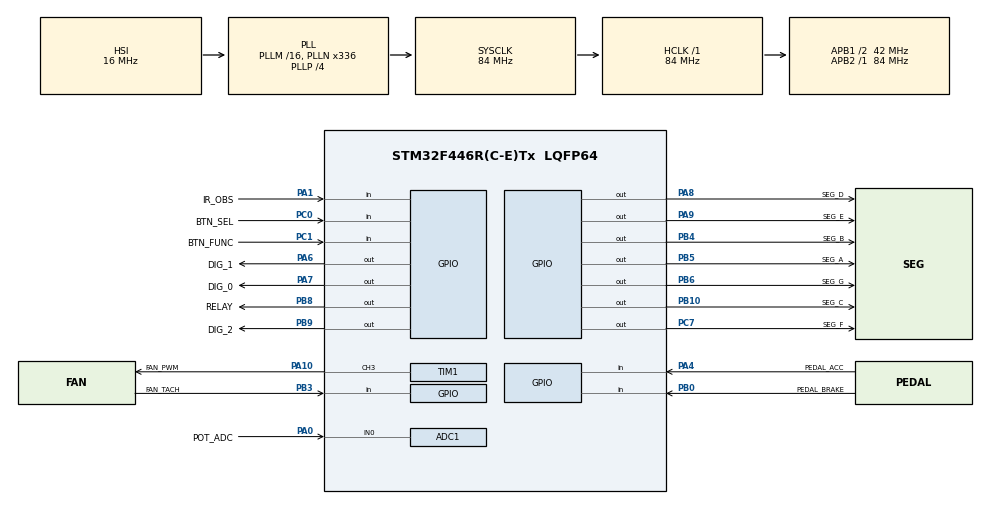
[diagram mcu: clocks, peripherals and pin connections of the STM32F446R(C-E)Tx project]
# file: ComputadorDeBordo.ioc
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ADC1.Channel-0\#ChannelRegularConversion=ADC_CHANNEL_0
ADC1.NbrOfConversionFlag=1
ADC1.Rank-0\#ChannelRegularConversion=1
ADC1.SamplingTime-0\#ChannelRegularConversion=ADC_SAMPLETIME_56CYCLES
ADC1.master=1
Mcu.Family=STM32F4
Mcu.Name=STM32F446R(C-E)Tx
Mcu.Package=LQFP64
NVIC.FPU_IRQn=true\:0\:0\:false\:false\:true\:true\:false\:true
NVIC.PriorityGroup=NVIC_PRIORITYGROUP_0
NVIC.TIM2_IRQn=true\:0\:0\:false\:false\:true\:true\:true\:true
NVIC.TIM6_DAC_IRQn=true\:0\:0\:false\:false\:true\:true\:true\:true
PA0-WKUP.GPIO_Label=POT_ADC
PA0-WKUP.Signal=ADCx_IN0
PA1.GPIO_Label=IR_OBS
PA1.GPIO_PuPd=GPIO_PULLUP
PA1.Signal=GPIO_Input
PA10.GPIO_Label=FAN_PWM
PA10.Signal=S_TIM1_CH3
PA13.GPIO_Label=TMS
PA13.Mode=Serial_Wire
PA13.Signal=SYS_JTMS-SWDIO
PA14.GPIO_Label=TCK
PA14.Mode=Serial_Wire
PA14.Signal=SYS_JTCK-SWCLK
PA4.GPIO_Label=PEDAL_ACC
PA4.GPIO_PuPd=GPIO_PULLUP
PA4.Signal=GPIO_Input
PA6.GPIO_Label=DIG_1
PA6.GPIO_ModeDefaultOutputPP=GPIO_MODE_OUTPUT_OD
PA6.GPIO_PuPd=GPIO_NOPULL
PA6.Signal=GPIO_Output
PA7.GPIO_Label=DIG_0
PA7.GPIO_ModeDefaultOutputPP=GPIO_MODE_OUTPUT_OD
PA7.GPIO_PuPd=GPIO_NOPULL
PA7.Signal=GPIO_Output
PA8.GPIO_Label=SEG_D
PA8.PinState=GPIO_PIN_SET
PA8.Signal=GPIO_Output
PA9.GPIO_Label=SEG_E
PA9.PinState=GPIO_PIN_SET
PA9.Signal=GPIO_Output
PB0.GPIO_Label=PEDAL_BRAKE
PB0.GPIO_PuPd=GPIO_PULLUP
PB0.Signal=GPIO_Input
PB10.GPIO_Label=SEG_C
PB10.PinState=GPIO_PIN_SET
PB10.Signal=GPIO_Output
PB3.GPIO_Label=FAN_TACH
PB3.Signal=GPIO_Input
PB4.GPIO_Label=SEG_B
PB4.PinState=GPIO_PIN_SET
PB4.Signal=GPIO_Output
PB5.GPIO_Label=SEG_A
PB5.PinState=GPIO_PIN_SET
PB5.Signal=GPIO_Output
PB6.GPIO_Label=SEG_G
PB6.PinState=GPIO_PIN_SET
PB6.Signal=GPIO_Output
PB8.GPIO_Label=RELAY
PB8.GPIO_ModeDefaultOutputPP=GPIO_MODE_OUTPUT_PP
PB8.GPIO_PuPd=GPIO_NOPULL
PB8.Signal=GPIO_Output
PB9.GPIO_Label=DIG_2
PB9.GPIO_ModeDefaultOutputPP=GPIO_MODE_OUTPUT_OD
PB9.GPIO_PuPd=GPIO_NOPULL
PB9.Signal=GPIO_Output
PC0.GPIO_Label=BTN_SEL
PC0.GPIO_PuPd=GPIO_PULLUP
PC0.Signal=GPIO_Input
PC1.GPIO_Label=BTN_FUNC
PC1.GPIO_PuPd=GPIO_PULLUP
PC1.Signal=GPIO_Input
PC14-OSC32_IN.Mode=LSE-External-Oscillator
PC14-OSC32_IN.Signal=RCC_OSC32_IN
PC15-OSC32_OUT.Mode=LSE-External-Oscillator
PC15-OSC32_OUT.Signal=RCC_OSC32_OUT
PC7.GPIO_Label=SEG_F
PC7.PinState=GPIO_PIN_SET
PC7.Signal=GPIO_Output
PH0-OSC_IN.Mode=HSE-External-Oscillator
PH0-OSC_IN.Signal=RCC_OSC_IN
PH1-OSC_OUT.Mode=HSE-External-Oscillator
PH1-OSC_OUT.Signal=RCC_OSC_OUT
ProjectManager.HeapSize=0x200
ProjectManager.StackSize=0x400
ProjectManager.TargetToolchain=STM32CubeIDE
RCC.48MHZClocksFreq_Value=84000000
RCC.AHBFreq_Value=84000000
RCC.APB1CLKDivider=RCC_HCLK_DIV2
RCC.APB1Freq_Value=42000000
RCC.APB1TimFreq_Value=84000000
RCC.APB2Freq_Value=84000000
RCC.APB2TimFreq_Value=84000000
RCC.CortexFreq_Value=84000000
RCC.FLatency-AdvancedSettings=FLASH_LATENCY_2
RCC.HCLKFreq_Value=84000000
RCC.HSE_VALUE=8000000
RCC.HSI_VALUE=16000000
RCC.PLLN=336
RCC.PLLP=RCC_PLLP_DIV4
RCC.SYSCLKFreq_VALUE=84000000
RCC.SYSCLKSource=RCC_SYSCLKSOURCE_PLLCLK
RCC.USBFreq_Value=168000000
RCC.VCOOutputFreq_Value=336000000
SH.ADCx_IN0.0=ADC1_IN0,IN0
SH.S_TIM1_CH3.0=TIM1_CH3,PWM Generation3 CH3
TIM1.Channel-PWM\ Generation3\ CH3=TIM_CHANNEL_3
TIM1.Period=3359
TIM2.Period=3359
TIM4.Period=999
TIM4.Prescaler=83
TIM6.Period=9
TIM6.Prescaler=8399
VP_ADC1_TempSens_Input.Mode=IN-TempSens
VP_TIM2_VS_ClockSourceINT.Mode=Internal
VP_TIM4_VS_ClockSourceINT.Mode=Internal
VP_TIM6_VS_ClockSourceINT.Mode=Enable_Timer
board=NUCLEO-F446RE

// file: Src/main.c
/* USER CODE BEGIN Header */
/**
  ******************************************************************************
  * @file           : main.c
  * @brief          : Projeto 2 - Henrique, Bianca, Nicolas
  ******************************************************************************
  */
/* USER CODE END Header */

#include "main.h"
#include "adc.h"
#include "tim.h"
#include "gpio.h"

/* USER CODE BEGIN Includes */
#include <stdint.h>
/* USER CODE END Includes */

/* USER CODE BEGIN PTD */

typedef enum
{
  TELA_VELOCIDADE = 0,
  TELA_RPM,
  TELA_TEMP,
  TELA_ODO,
  TELA_MARCHA,
  TELA_DUTY,
  TELA_TOTAL
} Tela_t;

/* USER CODE END PTD */

/* USER CODE BEGIN PD */

// sinais do display
#define SEG_ON                 GPIO_PIN_RESET
#define SEG_OFF                GPIO_PIN_SET
#define DIG_ON                 GPIO_PIN_RESET
#define DIG_OFF                GPIO_PIN_SET

// botoes ligados com pull-up interno
#define BTN_PRESSED            GPIO_PIN_RESET

// transistor externo da alimentacao do cooler
#define POWER_ON               GPIO_PIN_SET
#define POWER_OFF              GPIO_PIN_RESET

// canal PWM usado no cooler
#define FAN_PWM_CHANNEL        TIM_CHANNEL_3

// parametros de controle do cooler
#define DUTY_MIN_ON            19U
#define DUTY_MAX               100U
#define DUTY_ACCEL_STEP        4U
#define DUTY_BRAKE_STEP        20U
#define DUTY_OBSTACLE_STEP     20U
#define DUTY_NATURAL_STEP      4U

#define ACCEL_INTERVAL_MS      500U
#define BRAKE_INTERVAL_MS      500U
#define OBSTACLE_INTERVAL_MS   500U
#define NATURAL_INTERVAL_MS    1000U
#define AUTO_INTERVAL_MS       500U

#define FAN_START_KICK_MS      1500U

// leitura do tacometro do cooler
#define TACH_PULSES_PER_REV    2U
#define RPM_MAX_FOR_120_KMH    3000U

// limites de temperatura
#define TEMP_READ_INTERVAL_MS  200U
#define TEMP_ALERT_C           40
#define TEMP_CRITICAL_C        50
#define TEMP_CRITICAL_MS       120000UL

// limites do potenciometro usado como volante
#define STEER_CENTER           2048
#define STEER_CURVE_LIMIT      900
#define STEER_FAST_DELTA       1200
#define STEER_RETURN_BAND      350
#define STEER_FAST_TIME_MS     300U
#define CURVE_DUTY_LIMIT       100U
#define CURVE_SPEED_LIMIT      90U

// sensor de obstaculo
#define OBSTACLE_DETECTED      GPIO_PIN_RESET

// leds indicadores
#define LED_ON                 GPIO_PIN_SET
#define LED_OFF                GPIO_PIN_RESET

/* USER CODE END PD */

/* USER CODE BEGIN PV */

// tabela dos numeros no display de 7 segmentos
static const uint8_t digit_map[10] =
{
  0x3F, // 0
  0x06, // 1
  0x5B, // 2
  0x4F, // 3
  0x66, // 4
  0x6D, // 5
  0x7D, // 6
  0x07, // 7
  0x7F, // 8
  0x6F  // 9
};

#define PATTERN_BLANK 0x00
#define PATTERN_C     0x39
#define PATTERN_A     0x77
#define PATTERN_Q     0x67
#define PATTERN_U     0x1C

static uint8_t disp[3] = {0x00, 0x00, 0x3F};
static uint8_t ativo = 0;

static Tela_t tela = TELA_VELOCIDADE;

// variaveis principais
static uint8_t duty = 0;
static uint8_t marcha = 0;
static uint8_t auto_on = 0;
static uint8_t auto_target_duty = 0;
static uint16_t auto_target_speed = 0;

// variaveis de medicao
static int16_t temp_val = 0;
static uint8_t temp_alert = 0;
static uint8_t temp_critical = 0;
static uint8_t critical_lock = 0;
static uint32_t temp_critical_start = 0;

static volatile uint32_t tach_pulses = 0;
static uint16_t tach_per_sec = 0;
static uint16_t rpm = 0;
static uint16_t velocidade = 0;

static uint32_t odometro_dm = 0;

static uint16_t centro_volante = STEER_CENTER;
static uint16_t steer_now = STEER_CENTER;
static uint16_t steer_prev = STEER_CENTER;
static uint8_t curva = 0;
static uint8_t seta_on = 0;
static uint8_t seta_blink = 0;
static uint8_t movimento_volante = 0;
static int8_t lado_movimento = 0;
static uint32_t inicio_movimento = 0;
static uint8_t curva_feita = 0;

// estados anteriores dos botoes
static uint8_t func_prev = 0;
static uint8_t sel_prev = 0;

// controle de partida do cooler
static uint8_t fan_ligado = 0;
static uint32_t fan_kick_until = 0;

// marcadores de tempo das tarefas
static uint32_t t_display = 0;
static uint32_t t_inputs = 0;
static uint32_t t_accel = 0;
static uint32_t t_brake = 0;
static uint32_t t_obstacle = 0;
static uint32_t t_natural = 0;
static uint32_t t_auto = 0;
static uint32_t t_adc = 0;
static uint32_t t_temp = 0;
static uint32_t t_tach = 0;
static uint32_t t_odo = 0;
static uint32_t t_blink = 0;

/* USER CODE END PV */

void SystemClock_Config(void);

/* USER CODE BEGIN PFP */

static void configurar_pinos(void);

static void escrever_segmentos(uint8_t v);
static void desligar_digitos(void);
static void mostrar_numero(uint16_t n, uint8_t blank_left);
static void mostrar_temperatura(uint16_t t);
static void mostrar_texto(uint8_t a, uint8_t b, uint8_t c);
static void atualizar_display(void);
static void atualizar_conteudo_display(void);

static uint16_t ler_adc(uint32_t channel);
static int16_t ler_temperatura(void);

static void ajustar_duty_cooler(uint8_t percent);
static void aplicar_saida_cooler(void);

static uint8_t botao_pressionado(GPIO_TypeDef *port, uint16_t pin);
static void aumentar_duty(uint8_t step);
static void reduzir_duty(uint8_t step);
static void atualizar_marcha(void);
static uint16_t velocidade_para_painel(void);

static void calibrar_volante(void);

static void tarefa_botoes(void);
static void tarefa_volante(void);
static void tarefa_temperatura(void);
static void tarefa_tach(void);
static void tarefa_logica(void);
static void tarefa_odometro(void);
static void tarefa_leds(void);

/* USER CODE END PFP */

/* USER CODE BEGIN 0 */

static void configurar_pinos(void)
{
  GPIO_InitTypeDef g = {0};

  __HAL_RCC_GPIOA_CLK_ENABLE();
  __HAL_RCC_GPIOB_CLK_ENABLE();
  __HAL_RCC_GPIOC_CLK_ENABLE();

  // configura os segmentos
  g.Mode = GPIO_MODE_OUTPUT_PP;
  g.Pull = GPIO_NOPULL;
  g.Speed = GPIO_SPEED_FREQ_HIGH;

  g.Pin = GPIO_PIN_5 | GPIO_PIN_4 | GPIO_PIN_10 | GPIO_PIN_6;
  HAL_GPIO_Init(GPIOB, &g);

  g.Pin = GPIO_PIN_8 | GPIO_PIN_9;
  HAL_GPIO_Init(GPIOA, &g);

  g.Pin = GPIO_PIN_7;
  HAL_GPIO_Init(GPIOC, &g);

  // configura os digitos em open-drain
  g.Mode = GPIO_MODE_OUTPUT_OD;
  g.Pull = GPIO_NOPULL;
  g.Speed = GPIO_SPEED_FREQ_HIGH;

  g.Pin = GPIO_PIN_7 | GPIO_PIN_6;
  HAL_GPIO_Init(GPIOA, &g);

  g.Pin = GPIO_PIN_9;
  HAL_GPIO_Init(GPIOB, &g);

  desligar_digitos();
  escrever_segmentos(0x00);

  // configura os botoes
  g.Mode = GPIO_MODE_INPUT;
  g.Pull = GPIO_PULLUP;
  g.Speed = GPIO_SPEED_FREQ_LOW;

  // PC1 = funcao, PC0 = seleciona
  g.Pin = GPIO_PIN_1 | GPIO_PIN_0;
  HAL_GPIO_Init(GPIOC, &g);

  // PA4 = acelerador
  g.Pin = GPIO_PIN_4;
  HAL_GPIO_Init(GPIOA, &g);

  // PB0 = freio
  g.Pin = GPIO_PIN_0;
  HAL_GPIO_Init(GPIOB, &g);

  // sensor de obstaculo PA1
  g.Mode = GPIO_MODE_INPUT;
  g.Pull = GPIO_PULLUP;
  g.Pin = GPIO_PIN_1;
  HAL_GPIO_Init(GPIOA, &g);

  // leds indicadores PA5 temp, PA2 seta, PA3 auto
  g.Mode = GPIO_MODE_OUTPUT_PP;
  g.Pull = GPIO_NOPULL;
  g.Speed = GPIO_SPEED_FREQ_LOW;
  g.Pin = GPIO_PIN_5 | GPIO_PIN_2 | GPIO_PIN_3;
  HAL_GPIO_Init(GPIOA, &g);

  HAL_GPIO_WritePin(GPIOA, GPIO_PIN_5, LED_OFF);
  HAL_GPIO_WritePin(GPIOA, GPIO_PIN_2, LED_OFF);
  HAL_GPIO_WritePin(GPIOA, GPIO_PIN_3, LED_OFF);

  // leitura do tacometro do cooler PB3 EXTI - igual ao codigo que funcionou: pull-up interno
  g.Mode = GPIO_MODE_IT_FALLING;
  g.Pull = GPIO_PULLUP;
  g.Pin = GPIO_PIN_3;
  HAL_GPIO_Init(GPIOB, &g);

  HAL_NVIC_SetPriority(EXTI3_IRQn, 2, 0);
  HAL_NVIC_EnableIRQ(EXTI3_IRQn);

  // PB8 aciona o transistor externo
  g.Mode = GPIO_MODE_OUTPUT_PP;
  g.Pull = GPIO_NOPULL;
  g.Speed = GPIO_SPEED_FREQ_LOW;
  g.Pin = GPIO_PIN_8;
  HAL_GPIO_Init(GPIOB, &g);
  HAL_GPIO_WritePin(GPIOB, GPIO_PIN_8, POWER_OFF);

  // PA10 gera o PWM do cooler
  g.Mode = GPIO_MODE_AF_OD;
  g.Pull = GPIO_NOPULL;
  g.Speed = GPIO_SPEED_FREQ_VERY_HIGH;
  g.Alternate = GPIO_AF1_TIM1;
  g.Pin = GPIO_PIN_10;
  HAL_GPIO_Init(GPIOA, &g);
}

static void escrever_segmentos(uint8_t v)
{
  HAL_GPIO_WritePin(GPIOB, GPIO_PIN_5,  (v & 0x01) ? SEG_ON : SEG_OFF);
  HAL_GPIO_WritePin(GPIOB, GPIO_PIN_4,  (v & 0x02) ? SEG_ON : SEG_OFF);
  HAL_GPIO_WritePin(GPIOB, GPIO_PIN_10, (v & 0x04) ? SEG_ON : SEG_OFF);
  HAL_GPIO_WritePin(GPIOA, GPIO_PIN_8,  (v & 0x08) ? SEG_ON : SEG_OFF);
  HAL_GPIO_WritePin(GPIOA, GPIO_PIN_9,  (v & 0x10) ? SEG_ON : SEG_OFF);
  HAL_GPIO_WritePin(GPIOC, GPIO_PIN_7,  (v & 0x20) ? SEG_ON : SEG_OFF);
  HAL_GPIO_WritePin(GPIOB, GPIO_PIN_6,  (v & 0x40) ? SEG_ON : SEG_OFF);
}

static void desligar_digitos(void)
{
  HAL_GPIO_WritePin(GPIOA, GPIO_PIN_7, DIG_OFF);
  HAL_GPIO_WritePin(GPIOA, GPIO_PIN_6, DIG_OFF);
  HAL_GPIO_WritePin(GPIOB, GPIO_PIN_9, DIG_OFF);
}

static void mostrar_texto(uint8_t a, uint8_t b, uint8_t c)
{
  disp[0] = a;
  disp[1] = b;
  disp[2] = c;
}

static void mostrar_numero(uint16_t n, uint8_t blank_left)
{
  if (n > 999)
  {
    n = 999;
  }

  uint8_t h = n / 100;
  uint8_t t = (n / 10) % 10;
  uint8_t u = n % 10;

  if (blank_left && n < 100)
  {
    disp[0] = PATTERN_BLANK;
  }
  else
  {
    disp[0] = digit_map[h];
  }

  if (blank_left && n < 10)
  {
    disp[1] = PATTERN_BLANK;
  }
  else
  {
    disp[1] = digit_map[t];
  }

  disp[2] = digit_map[u];
}

static void mostrar_temperatura(uint16_t t)
{
  if (t > 99)
  {
    t = 99;
  }

  disp[0] = digit_map[t / 10];
  disp[1] = digit_map[t % 10];
  disp[2] = PATTERN_C;
}

static void atualizar_display(void)
{
  desligar_digitos();
  escrever_segmentos(0x00);

  for (volatile uint16_t i = 0; i < 80; i++)
  {
  }

  escrever_segmentos(disp[ativo]);

  if (ativo == 0)
  {
    HAL_GPIO_WritePin(GPIOA, GPIO_PIN_7, DIG_ON);
  }
  else if (ativo == 1)
  {
    HAL_GPIO_WritePin(GPIOA, GPIO_PIN_6, DIG_ON);
  }
  else
  {
    HAL_GPIO_WritePin(GPIOB, GPIO_PIN_9, DIG_ON);
  }

  ativo++;
  if (ativo >= 3)
  {
    ativo = 0;
  }
}

static void atualizar_conteudo_display(void)
{
  // alerta de temperatura tem prioridade no display
  if (temp_critical)
  {
    mostrar_texto(PATTERN_A, PATTERN_Q, PATTERN_U); // Aqu
    return;
  }

  if (temp_alert)
  {
    mostrar_temperatura((uint16_t)(temp_val < 0 ? 0 : temp_val));
    return;
  }

  switch (tela)
  {
    case TELA_VELOCIDADE:
      // mostra a velocidade calculada
      mostrar_numero(velocidade_para_painel(), 1);
      break;

    case TELA_RPM:
      // mostra RPM dividido por 10
      // exemplo: 245 representa 2450 rpm
      mostrar_numero(rpm / 10U, 1);
      break;

    case TELA_TEMP:
      // limites de temperatura com C no terceiro digito.
      mostrar_temperatura((uint16_t)(temp_val < 0 ? 0 : temp_val));
      break;

    case TELA_ODO:
      // mostra hodometro em metros
      mostrar_numero((odometro_dm / 10U) % 1000U, 1);
      break;

    case TELA_MARCHA:
      mostrar_numero(marcha, 1);
      break;

    case TELA_DUTY:
      // mostra o duty do PWM
      mostrar_numero(duty, 1);
      break;

    default:
      mostrar_numero(velocidade_para_painel(), 1);
      break;
  }
}

static uint16_t ler_adc(uint32_t channel)
{
  ADC_ChannelConfTypeDef c = {0};
  uint16_t v = 0;

  c.Channel = channel;
  c.Rank = 1;
  c.SamplingTime = ADC_SAMPLETIME_480CYCLES;

  HAL_ADC_ConfigChannel(&hadc1, &c);

  HAL_ADC_Start(&hadc1);

  if (HAL_ADC_PollForConversion(&hadc1, 5) == HAL_OK)
  {
    v = HAL_ADC_GetValue(&hadc1);
  }

  HAL_ADC_Stop(&hadc1);

  return v;
}

static int16_t ler_temperatura(void)
{
  uint16_t raw;
  int32_t mv;
  int32_t temp;

  ADC->CCR |= ADC_CCR_TSVREFE;

  raw = ler_adc(ADC_CHANNEL_TEMPSENSOR);

  mv = ((int32_t)raw * 3300) / 4095;
  temp = ((mv - 760) * 10) / 25 + 25;

  return (int16_t)temp;
}

static void ajustar_duty_cooler(uint8_t percent)
{
  uint32_t period;
  uint32_t pulse;

  if (percent > 100)
  {
    percent = 100;
  }

  period = __HAL_TIM_GET_AUTORELOAD(&htim1);

  pulse = ((uint32_t)percent * (period + 1U)) / 100U;

  if (pulse > (period + 1U))
  {
    pulse = period + 1U;
  }

  __HAL_TIM_SET_COMPARE(&htim1, FAN_PWM_CHANNEL, pulse);
}

static void aplicar_saida_cooler(void)
{
  uint32_t now = HAL_GetTick();

  if (duty < DUTY_MIN_ON || critical_lock)
  {
    HAL_GPIO_WritePin(GPIOB, GPIO_PIN_8, POWER_OFF);
    ajustar_duty_cooler(0);
    fan_ligado = 0;
    fan_kick_until = 0;
    return;
  }

  HAL_GPIO_WritePin(GPIOB, GPIO_PIN_8, POWER_ON);

  if (fan_ligado == 0)
  {
    fan_ligado = 1;
    fan_kick_until = now + FAN_START_KICK_MS;
    ajustar_duty_cooler(100);
    return;
  }

  if ((int32_t)(now - fan_kick_until) < 0)
  {
    ajustar_duty_cooler(100);
  }
  else
  {
    ajustar_duty_cooler(duty);
  }
}

static uint8_t botao_pressionado(GPIO_TypeDef *port, uint16_t pin)
{
  return (HAL_GPIO_ReadPin(port, pin) == BTN_PRESSED) ? 1U : 0U;
}

static void calibrar_volante(void)
{
  uint32_t soma = 0;

  // le algumas vezes no inicio e assume que esta posicao eh o centro
  for (uint8_t i = 0; i < 20; i++)
  {
    soma += ler_adc(ADC_CHANNEL_0);
    HAL_Delay(5);
  }

  centro_volante = (uint16_t)(soma / 20U);
  steer_now = centro_volante;
  steer_prev = centro_volante;
}

static uint16_t velocidade_para_painel(void)
{
  uint16_t v = velocidade;

  // se o tacometro ainda nao respondeu, estima a velocidade pelo duty
  if (v == 0U && duty >= DUTY_MIN_ON)
  {
    v = (uint16_t)(((uint32_t)duty * 120U) / 100U);
  }

  // em curva, a velocidade maxima exibida e considerada eh 90 km/h
  if (curva && v > CURVE_SPEED_LIMIT)
  {
    v = CURVE_SPEED_LIMIT;
  }

  return v;
}

static void aumentar_duty(uint8_t step)
{
  if (duty > (DUTY_MAX - step))
  {
    duty = DUTY_MAX;
  }
  else
  {
    duty += step;
  }
}

static void reduzir_duty(uint8_t step)
{
  if (duty < step)
  {
    duty = 0;
  }
  else
  {
    duty -= step;
  }
}

static void atualizar_marcha(void)
{
  if (duty < DUTY_MIN_ON)
  {
    marcha = 0;
  }
  else if (duty <= 35)
  {
    marcha = 1;
  }
  else if (duty <= 50)
  {
    marcha = 2;
  }
  else if (duty <= 65)
  {
    marcha = 3;
  }
  else if (duty <= 80)
  {
    marcha = 4;
  }
  else
  {
    marcha = 5;
  }
}

static void tarefa_botoes(void)
{
  uint32_t now = HAL_GetTick();

  if ((now - t_inputs) < 20U)
  {
    return;
  }

  t_inputs = now;

  uint8_t func_now = botao_pressionado(GPIOC, GPIO_PIN_1);
  uint8_t sel_now = botao_pressionado(GPIOC, GPIO_PIN_0);

  if (func_now && !func_prev)
  {
    tela = (Tela_t)((tela + 1) % TELA_TOTAL);
  }

  // seleciona liga ou desliga velocidade autonoma
  if (sel_now && !sel_prev)
  {
    if (auto_on)
    {
      auto_on = 0;
    }
    else if (!critical_lock && duty >= DUTY_MIN_ON)
    {
      auto_on = 1;
      auto_target_duty = duty;
      auto_target_speed = velocidade;
    }
  }

  func_prev = func_now;
  sel_prev = sel_now;
}

static void tarefa_volante(void)
{
  uint32_t now = HAL_GetTick();

  if ((now - t_adc) < 100U)
  {
    return;
  }

  t_adc = now;

  steer_prev = steer_now;
  steer_now = ler_adc(ADC_CHANNEL_0);

  int32_t diff = (int32_t)steer_now - (int32_t)centro_volante;

  if (diff > STEER_CURVE_LIMIT || diff < -STEER_CURVE_LIMIT)
  {
    curva = 1;
  }
  else
  {
    curva = 0;
  }

  // detecta movimento rapido: sai do centro e volta em ate 300 ms
  int8_t lado_atual = 0;

  if (diff > STEER_FAST_DELTA)
  {
    lado_atual = 1;
  }
  else if (diff < -STEER_FAST_DELTA)
  {
    lado_atual = -1;
  }

  if (movimento_volante == 0)
  {
    if (lado_atual != 0)
    {
      movimento_volante = 1;
      lado_movimento = lado_atual;
      inicio_movimento = now;
    }
  }
  else
  {
    uint8_t voltou_centro = 0;

    if (diff < STEER_RETURN_BAND && diff > -STEER_RETURN_BAND)
    {
      voltou_centro = 1;
    }

    if ((now - inicio_movimento) > STEER_FAST_TIME_MS)
    {
      movimento_volante = 0;
      lado_movimento = 0;
    }
    else if (voltou_centro)
    {
      // novo movimento rapido alterna a seta
      seta_on = !seta_on;
      curva_feita = 0;
      movimento_volante = 0;
      lado_movimento = 0;
    }
  }

  // depois da curva, ao voltar para o centro, a seta desliga
  if (seta_on)
  {
    if (curva)
    {
      curva_feita = 1;
    }

    if (curva_feita && diff < STEER_RETURN_BAND && diff > -STEER_RETURN_BAND)
    {
      seta_on = 0;
      curva_feita = 0;
    }
  }
  else
  {
    curva_feita = 0;
  }
}

static void tarefa_temperatura(void)
{
  uint32_t now = HAL_GetTick();

  if ((now - t_temp) < TEMP_READ_INTERVAL_MS)
  {
    return;
  }

  t_temp = now;

  temp_val = ler_temperatura();

  temp_alert = (temp_val > TEMP_ALERT_C) ? 1U : 0U;

  if (temp_val >= TEMP_CRITICAL_C)
  {
    temp_critical = 1;

    if (temp_critical_start == 0)
    {
      temp_critical_start = now;
    }

    if ((now - temp_critical_start) >= TEMP_CRITICAL_MS)
    {
      critical_lock = 1;
      auto_on = 0;
      duty = 0;
    }
  }
  else
  {
    temp_critical = 0;
    temp_critical_start = 0;
    critical_lock = 0;
  }
}

static void tarefa_tach(void)
{
  uint32_t now = HAL_GetTick();

  if ((now - t_tach) < 1000U)
  {
    return;
  }

  t_tach = now;

  uint32_t pulses;

  __disable_irq();
  pulses = tach_pulses;
  tach_pulses = 0;
  __enable_irq();

  tach_per_sec = (uint16_t)pulses;

  rpm = (uint16_t)((pulses * 60U) / TACH_PULSES_PER_REV);

  if (rpm >= RPM_MAX_FOR_120_KMH)
  {
    velocidade = 120;
  }
  else
  {
    velocidade = (uint16_t)(((uint32_t)rpm * 120U) / RPM_MAX_FOR_120_KMH);
  }
}

static void tarefa_logica(void)
{
  uint32_t now = HAL_GetTick();

  uint8_t accel_now = botao_pressionado(GPIOA, GPIO_PIN_4);
  uint8_t brake_now = botao_pressionado(GPIOB, GPIO_PIN_0);
  uint8_t obstacle_now = (HAL_GPIO_ReadPin(GPIOA, GPIO_PIN_1) == OBSTACLE_DETECTED) ? 1U : 0U;

  // freio tem prioridade
  if (brake_now)
  {
    auto_on = 0;

    if ((now - t_brake) >= BRAKE_INTERVAL_MS)
    {
      t_brake = now;
      reduzir_duty(DUTY_BRAKE_STEP);
    }
  }
  else
  {
    t_brake = now;
  }

  // obstaculo reduz a velocidade
  if (obstacle_now)
  {
    auto_on = 0;

    if ((now - t_obstacle) >= OBSTACLE_INTERVAL_MS)
    {
      t_obstacle = now;
      reduzir_duty(DUTY_OBSTACLE_STEP);
    }
  }
  else
  {
    t_obstacle = now;
  }

  // acelerador aumenta o duty
  if (accel_now && !brake_now && !auto_on && !critical_lock)
  {
    if ((now - t_accel) >= ACCEL_INTERVAL_MS)
    {
      t_accel = now;
      aumentar_duty(DUTY_ACCEL_STEP);
    }
  }
  else
  {
    t_accel = now;
  }

  // controle autonomo tenta manter a velocidade
  if (auto_on && !brake_now && !critical_lock)
  {
    if ((now - t_auto) >= AUTO_INTERVAL_MS)
    {
      t_auto = now;

      if (velocidade == 0 && auto_target_duty >= DUTY_MIN_ON)
      {
        duty = auto_target_duty;
      }
      else if (velocidade + 3U < auto_target_speed)
      {
        aumentar_duty(2);
      }
      else if (velocidade > auto_target_speed + 3U)
      {
        reduzir_duty(2);
      }
    }
  }
  else
  {
    t_auto = now;
  }

  // sem acelerar, o carro desacelera
  if (!accel_now && !brake_now && !auto_on)
  {
    if ((now - t_natural) >= NATURAL_INTERVAL_MS)
    {
      t_natural = now;
      reduzir_duty(DUTY_NATURAL_STEP);
    }
  }
  else
  {
    t_natural = now;
  }

  // em curva, nao deixa passar da velocidade maxima definida
  if (curva && velocidade_para_painel() > CURVE_SPEED_LIMIT)
  {
    reduzir_duty(DUTY_NATURAL_STEP);
  }

  atualizar_marcha();
}

static void tarefa_odometro(void)
{
  uint32_t now = HAL_GetTick();

  if ((now - t_odo) < 1000U)
  {
    return;
  }

  t_odo = now;

  // converte velocidade para distancia aproximada
  odometro_dm += ((uint32_t)velocidade_para_painel() * 25U) / 9U;
}

static void tarefa_leds(void)
{
  uint32_t now = HAL_GetTick();

  HAL_GPIO_WritePin(GPIOA, GPIO_PIN_5, (temp_alert || temp_critical) ? LED_ON : LED_OFF);
  HAL_GPIO_WritePin(GPIOA, GPIO_PIN_3, auto_on ? LED_ON : LED_OFF);

  if (seta_on)
  {
    if ((now - t_blink) >= 500U)
    {
      t_blink = now;
      seta_blink = !seta_blink;
    }

    HAL_GPIO_WritePin(GPIOA, GPIO_PIN_2, seta_blink ? LED_ON : LED_OFF);
  }
  else
  {
    seta_blink = 0;
    HAL_GPIO_WritePin(GPIOA, GPIO_PIN_2, LED_OFF);
  }
}

void EXTI3_IRQHandler(void)
{
  HAL_GPIO_EXTI_IRQHandler(GPIO_PIN_3);
}

void HAL_GPIO_EXTI_Callback(uint16_t GPIO_Pin)
{
  if (GPIO_Pin == GPIO_PIN_3)
  {
    tach_pulses++;
  }
}

/* USER CODE END 0 */

int main(void)
{
  HAL_Init();

  SystemClock_Config();

  MX_GPIO_Init();
  MX_ADC1_Init();
  MX_TIM2_Init();
  MX_TIM4_Init();
  MX_TIM6_Init();
  MX_TIM1_Init();

  /* USER CODE BEGIN 2 */

  configurar_pinos();

  HAL_TIM_PWM_Start(&htim1, FAN_PWM_CHANNEL);
  __HAL_TIM_MOE_ENABLE(&htim1);
  __HAL_TIM_SET_COMPARE(&htim1, FAN_PWM_CHANNEL, 0);

  ADC->CCR |= ADC_CCR_TSVREFE;

  calibrar_volante();

  duty = 0;
  tela = TELA_VELOCIDADE;

  ajustar_duty_cooler(0);
  HAL_GPIO_WritePin(GPIOB, GPIO_PIN_8, POWER_OFF);

  mostrar_numero(0, 1);

  t_display = 0;
  t_inputs = 0;
  t_accel = HAL_GetTick();
  t_brake = HAL_GetTick();
  t_obstacle = HAL_GetTick();
  t_natural = HAL_GetTick();
  t_auto = HAL_GetTick();
  t_adc = 0;
  t_temp = 0;
  t_tach = 0;
  t_odo = HAL_GetTick();
  t_blink = HAL_GetTick();

  /* USER CODE END 2 */

  /* Infinite loop */
  /* USER CODE BEGIN WHILE */
  while (1)
  {
    if ((HAL_GetTick() - t_display) >= 5U)
    {
      t_display = HAL_GetTick();
      atualizar_display();
    }

    tarefa_botoes();
    tarefa_volante();
    tarefa_temperatura();
    tarefa_tach();
    tarefa_logica();
    tarefa_odometro();
    tarefa_leds();

    aplicar_saida_cooler();
    atualizar_conteudo_display();
  }
  /* USER CODE END WHILE */

}

void SystemClock_Config(void)
{
  RCC_OscInitTypeDef RCC_OscInitStruct = {0};
  RCC_ClkInitTypeDef RCC_ClkInitStruct = {0};

  __HAL_RCC_PWR_CLK_ENABLE();
  __HAL_PWR_VOLTAGESCALING_CONFIG(PWR_REGULATOR_VOLTAGE_SCALE3);

  RCC_OscInitStruct.OscillatorType = RCC_OSCILLATORTYPE_HSI;
  RCC_OscInitStruct.HSIState = RCC_HSI_ON;
  RCC_OscInitStruct.HSICalibrationValue = RCC_HSICALIBRATION_DEFAULT;
  RCC_OscInitStruct.PLL.PLLState = RCC_PLL_ON;
  RCC_OscInitStruct.PLL.PLLSource = RCC_PLLSOURCE_HSI;
  RCC_OscInitStruct.PLL.PLLM = 16;
  RCC_OscInitStruct.PLL.PLLN = 336;
  RCC_OscInitStruct.PLL.PLLP = RCC_PLLP_DIV4;
  RCC_OscInitStruct.PLL.PLLQ = 2;
  RCC_OscInitStruct.PLL.PLLR = 2;

  if (HAL_RCC_OscConfig(&RCC_OscInitStruct) != HAL_OK)
  {
    Error_Handler();
  }

  RCC_ClkInitStruct.ClockType = RCC_CLOCKTYPE_HCLK |
                                RCC_CLOCKTYPE_SYSCLK |
                                RCC_CLOCKTYPE_PCLK1 |
                                RCC_CLOCKTYPE_PCLK2;

  RCC_ClkInitStruct.SYSCLKSource = RCC_SYSCLKSOURCE_PLLCLK;
  RCC_ClkInitStruct.AHBCLKDivider = RCC_SYSCLK_DIV1;
  RCC_ClkInitStruct.APB1CLKDivider = RCC_HCLK_DIV2;
  RCC_ClkInitStruct.APB2CLKDivider = RCC_HCLK_DIV1;

  if (HAL_RCC_ClockConfig(&RCC_ClkInitStruct, FLASH_LATENCY_2) != HAL_OK)
  {
    Error_Handler();
  }
}

void Error_Handler(void)
{
  __disable_irq();

  while (1)
  {
  }
}
